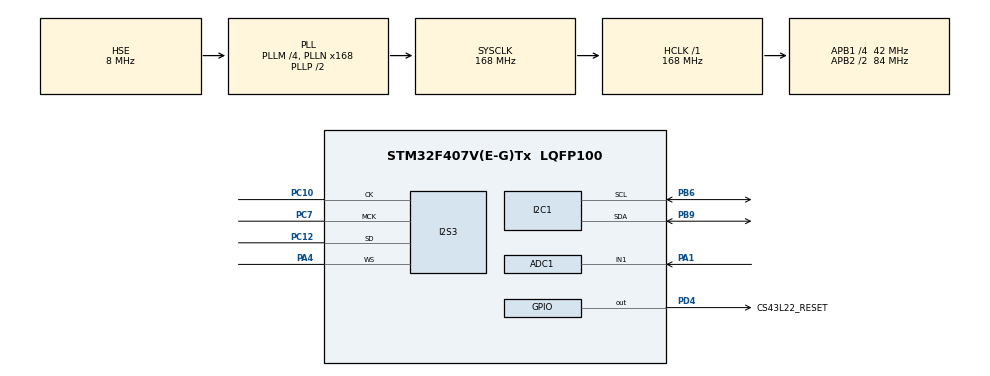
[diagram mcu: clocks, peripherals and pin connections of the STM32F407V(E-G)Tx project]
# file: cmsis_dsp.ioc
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ADC1.Channel-0\#ChannelRegularConversion=ADC_CHANNEL_1
ADC1.DMAContinuousRequests=ENABLE
ADC1.ExternalTrigConv=ADC_EXTERNALTRIGCONV_T2_TRGO
ADC1.NbrOfConversionFlag=1
ADC1.Rank-0\#ChannelRegularConversion=1
ADC1.SamplingTime-0\#ChannelRegularConversion=ADC_SAMPLETIME_3CYCLES
ADC1.master=1
Dma.ADC1.0.Direction=DMA_PERIPH_TO_MEMORY
Dma.ADC1.0.FIFOMode=DMA_FIFOMODE_ENABLE
Dma.ADC1.0.FIFOThreshold=DMA_FIFO_THRESHOLD_FULL
Dma.ADC1.0.Instance=DMA2_Stream0
Dma.ADC1.0.MemBurst=DMA_MBURST_SINGLE
Dma.ADC1.0.MemDataAlignment=DMA_MDATAALIGN_WORD
Dma.ADC1.0.MemInc=DMA_MINC_ENABLE
Dma.ADC1.0.Mode=DMA_CIRCULAR
Dma.ADC1.0.PeriphBurst=DMA_PBURST_SINGLE
Dma.ADC1.0.PeriphDataAlignment=DMA_PDATAALIGN_WORD
Dma.ADC1.0.PeriphInc=DMA_PINC_DISABLE
Dma.ADC1.0.Priority=DMA_PRIORITY_HIGH
Dma.Request0=ADC1
Dma.Request1=SPI3_TX
Dma.SPI3_TX.1.Direction=DMA_MEMORY_TO_PERIPH
Dma.SPI3_TX.1.FIFOMode=DMA_FIFOMODE_ENABLE
Dma.SPI3_TX.1.FIFOThreshold=DMA_FIFO_THRESHOLD_FULL
Dma.SPI3_TX.1.Instance=DMA1_Stream5
Dma.SPI3_TX.1.MemBurst=DMA_MBURST_SINGLE
Dma.SPI3_TX.1.MemDataAlignment=DMA_MDATAALIGN_HALFWORD
Dma.SPI3_TX.1.MemInc=DMA_MINC_ENABLE
Dma.SPI3_TX.1.Mode=DMA_CIRCULAR
Dma.SPI3_TX.1.PeriphBurst=DMA_PBURST_SINGLE
Dma.SPI3_TX.1.PeriphDataAlignment=DMA_PDATAALIGN_HALFWORD
Dma.SPI3_TX.1.PeriphInc=DMA_PINC_DISABLE
Dma.SPI3_TX.1.Priority=DMA_PRIORITY_LOW
I2S3.AudioFreq=I2S_AUDIOFREQ_48K
I2S3.DataFormat=I2S_DATAFORMAT_16B
I2S3.ErrorAudioFreq=1.72 %
I2S3.FullDuplexMode=I2S_FULLDUPLEXMODE_DISABLE
I2S3.Instance=SPI$Index
I2S3.RealAudioFreq=48.828 KHz
I2S3.VirtualMode=I2S_MODE_MASTER
Mcu.Family=STM32F4
Mcu.Name=STM32F407V(E-G)Tx
Mcu.Package=LQFP100
NVIC.DMA1_Stream5_IRQn=true\:0\:0\:false\:false\:true\:false\:true\:true
NVIC.DMA2_Stream0_IRQn=true\:0\:0\:false\:false\:true\:false\:true\:true
NVIC.PriorityGroup=NVIC_PRIORITYGROUP_0
PA1.Signal=ADCx_IN1
PA4.Mode=Half_Duplex_Master
PA4.Signal=I2S3_WS
PB6.Mode=I2C
PB6.Signal=I2C1_SCL
PB9.Mode=I2C
PB9.Signal=I2C1_SDA
PC10.Mode=Half_Duplex_Master
PC10.Signal=I2S3_CK
PC12.Mode=Half_Duplex_Master
PC12.Signal=I2S3_SD
PC7.Mode=Master_Clock_Activated
PC7.Signal=I2S3_MCK
PD4.GPIO_Label=CS43L22_RESET
PD4.Signal=GPIO_Output
PH0-OSC_IN.Mode=HSE-External-Oscillator
PH0-OSC_IN.Signal=RCC_OSC_IN
PH1-OSC_OUT.Mode=HSE-External-Oscillator
PH1-OSC_OUT.Signal=RCC_OSC_OUT
ProjectManager.HeapSize=0x200
ProjectManager.StackSize=0x400
ProjectManager.TargetToolchain=STM32CubeIDE
RCC.48MHZClocksFreq_Value=48000000
RCC.AHBFreq_Value=168000000
RCC.APB1CLKDivider=RCC_HCLK_DIV4
RCC.APB1Freq_Value=42000000
RCC.APB1TimFreq_Value=84000000
RCC.APB2CLKDivider=RCC_HCLK_DIV2
RCC.APB2Freq_Value=84000000
RCC.APB2TimFreq_Value=168000000
RCC.CortexFreq_Value=168000000
RCC.HCLKFreq_Value=168000000
RCC.HSE_VALUE=8000000
RCC.HSI_VALUE=16000000
RCC.LSE_VALUE=32768
RCC.PLLI2SN=50
RCC.PLLM=4
RCC.PLLN=168
RCC.PLLQ=7
RCC.PLLSourceVirtual=RCC_PLLSOURCE_HSE
RCC.SYSCLKFreq_VALUE=168000000
RCC.SYSCLKSource=RCC_SYSCLKSOURCE_PLLCLK
RCC.VCOOutputFreq_Value=336000000
SH.ADCx_IN1.0=ADC1_IN1,IN1
TIM2.Period=343
TIM2.Prescaler=4
TIM2.TIM_MasterOutputTrigger=TIM_TRGO_UPDATE
VP_TIM2_VS_ClockSourceINT.Mode=Internal
board=STM32F407G-DISC1

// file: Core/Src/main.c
/* USER CODE BEGIN Header */
/**
  ******************************************************************************
  * @file           : main.c
  * @brief          : Main program body
  ******************************************************************************
  * @attention
  *
  * Copyright (c) 2024 STMicroelectronics.
  * All rights reserved.
  *
  * This software is licensed under terms that can be found in the LICENSE file
  * in the root directory of this software component.
  * If no LICENSE file comes with this software, it is provided AS-IS.
  *
  ******************************************************************************
  */
/* USER CODE END Header */
#include "main.h"
#include "adc.h"
#include "dma.h"
#include "i2c.h"
#include "i2s.h"
#include "tim.h"
#include "gpio.h"

/* USER CODE BEGIN Includes */
#include "CS43L22.h"
#include <math.h>
#include "arm_math.h"
#include <stdio.h>
#include <stdlib.h>
/* USER CODE END Includes */

/* USER CODE BEGIN PD */
#define N	1024
#define FILTER_NUM_COEFFS 61
#define TALK_THROUGH 1
#define FIR_FILTER 0
#define CALC_FFT 0
/* USER CODE END PD */

/* USER CODE BEGIN PV */
uint32_t adc_val[2*N];
uint16_t count;

float32_t input_buffer[2*N];	// CMSIS DSP library requires float values
float32_t output_buffer[2*N];
float32_t *input_buffer_ptr;
float32_t *output_buffer_ptr;

uint16_t audio_buffer_out[4*N];

arm_fir_instance_f32 lpfilter;
float32_t state[FILTER_NUM_COEFFS + N -1];

uint8_t adc_callback_state = 0;
uint8_t i2s_callback_state = 0;

// 61 filter coefficients Matlab b=fir1(60,0.125);
// cutoff frequency approximately 2.9 kHz for 48 kHz sampling

const float32_t filter_coeffs[FILTER_NUM_COEFFS] = {
		-0.000602, -0.000839, -0.001026, -0.001119, -0.001039,
		-0.000692, 0.000000, 0.001052, 0.002381, 0.003785,
		0.004946, 0.005475, 0.004987, 0.003192, -0.000000,
		-0.004396, -0.009477, -0.014414, -0.018138, -0.019485,
		-0.017373, -0.010995, 0.000000, 0.015383, 0.034300,
		0.055324, 0.076597, 0.096050, 0.111676, 0.121797,
		0.125301, 0.121797, 0.111676, 0.096050, 0.076597,
		0.055324, 0.034300, 0.015383, 0.000000, -0.010995,
		-0.017373, -0.019485, -0.018138, -0.014414, -0.009477,
		-0.004396, -0.000000, 0.003192, 0.004987, 0.005475,
		0.004946, 0.003785, 0.002381, 0.001052, 0.000000,
		-0.000692, -0.001039, -0.001119, -0.001026, -0.000839,
		-0.000602
};

arm_rfft_fast_instance_f32 fft;
float32_t mag[N];
float32_t fft_out[2*N];
/* USER CODE END PV */

void SystemClock_Config(void);
/* USER CODE BEGIN PFP */
int __io_putchar(int ch);
/* USER CODE END PFP */

/* USER CODE BEGIN 0 */
void process_DSP(){
	#if TALK_THROUGH
		for(int i = 0; i < N; i++){
			*(output_buffer_ptr + i)= *(input_buffer_ptr + i);
		}

	#elif FIR_FILTER
		arm_fir_f32(&lpfilter, input_buffer_ptr, output_buffer_ptr, N);

	#elif CALC_FFT
		for(int i = 0; i < N; i++){
			*(output_buffer_ptr + i)= *(input_buffer_ptr + i);
		}
		arm_rfft_fast_f32(&fft, input_buffer_ptr, fft_out, 0);
		// https://arm-software.github.io/CMSIS-DSP/main/group__RealFFT.html
		// first two elements of fft_out are X[0] and X[N/2], both purely real
		mag[0] = fft_out[0];
		mag[N/2] = fft_out[1];
		// the remainder of fft_out are pairs of real and imaginary
		for(int i=1; i < N/2; i++){
			mag[i] = sqrt(pow(fft_out[2*i],2) + pow(fft_out[2*i+1],2));
		}

	#endif
}

void HAL_ADC_ConvHalfCpltCallback(ADC_HandleTypeDef *hadc)
{
//	// first half of buffer is full
	adc_callback_state = 1;

}

void HAL_ADC_ConvCpltCallback(ADC_HandleTypeDef *hadc)
{
	// second half of buffer is full
	adc_callback_state = 2;

}

void HAL_I2S_TxHalfCpltCallback(I2S_HandleTypeDef *hi2s)
{
	i2s_callback_state = 1;

}

void HAL_I2S_TxCpltCallback(I2S_HandleTypeDef *hi2s)
{
	i2s_callback_state = 2;

}
/* USER CODE END 0 */

int main(void)
{

  /* MCU Configuration--------------------------------------------------------*/

  /* Reset of all peripherals, Initializes the Flash interface and the Systick. */
  HAL_Init();

  /* Configure the system clock */
  SystemClock_Config();

  /* Initialize all configured peripherals */
  MX_GPIO_Init();
  MX_DMA_Init();
  MX_TIM2_Init();
  MX_ADC1_Init();
  MX_I2C1_Init();
  MX_I2S3_Init();
  /* USER CODE BEGIN 2 */
  CS43_Init(hi2c1, MODE_I2S);
  CS43_SetVolume(40); // 0 - 40
  CS43_Enable_RightLeft(CS43_RIGHT_LEFT);
  CS43_Start();

  arm_fir_init_f32(&lpfilter, FILTER_NUM_COEFFS, &filter_coeffs[0], &state[0], N);
  arm_rfft_fast_init_f32(&fft, N);

  HAL_TIM_Base_Start(&htim2);
  HAL_ADC_Start_DMA(&hadc1, (uint32_t *)adc_val, 2*N);
  HAL_I2S_Transmit_DMA(&hi2s3, (uint16_t *) audio_buffer_out, 4*N);

  /* USER CODE END 2 */

  /* Infinite loop */
  /* USER CODE BEGIN WHILE */
  while (1)
  {
	  if(adc_callback_state != 0){
		  if (adc_callback_state == 1) { //buffer half full
			  for(int i = 0; i < N; i++){
	  			  input_buffer[i] = (float32_t) adc_val[i];
			  }

			  input_buffer_ptr = &input_buffer[0];
			  output_buffer_ptr = &output_buffer[0];

		  }
		  else if (adc_callback_state == 2) { //buffer full
			  for(int i = N; i < 2*N; i++){
				  input_buffer[i]= (float32_t) adc_val[i];
			  }

			  input_buffer_ptr = &input_buffer[N];
	  		  output_buffer_ptr = &output_buffer[N];

		  }
		  process_DSP();
	  	  adc_callback_state = 0;

	  }

  	  if(i2s_callback_state != 0){
  		  if(i2s_callback_state == 1){

  	  		  for(int i = 0; i < N; i++){
  	  		  		audio_buffer_out[2*i] = (uint16_t) output_buffer[i];
  	  		  		audio_buffer_out[2*i+1] = (uint16_t) output_buffer[i];
  	  		  }
  		  }
  		  else if(i2s_callback_state == 2) {

  	  		  for(int i = N; i < 2*N; i++){
  	  		  		audio_buffer_out[2*i] = (uint16_t) output_buffer[i];
  	  		  		audio_buffer_out[2*i+1] = (uint16_t) output_buffer[i];
  	  		  	}
  		  }
  		  i2s_callback_state = 0;

  	  }

    /* USER CODE END WHILE */

  }
}

void SystemClock_Config(void)
{
  RCC_OscInitTypeDef RCC_OscInitStruct = {0};
  RCC_ClkInitTypeDef RCC_ClkInitStruct = {0};

  /** Configure the main internal regulator output voltage
  */
  __HAL_RCC_PWR_CLK_ENABLE();
  __HAL_PWR_VOLTAGESCALING_CONFIG(PWR_REGULATOR_VOLTAGE_SCALE1);

  /** Initializes the RCC Oscillators according to the specified parameters
  * in the RCC_OscInitTypeDef structure.
  */
  RCC_OscInitStruct.OscillatorType = RCC_OSCILLATORTYPE_HSE;
  RCC_OscInitStruct.HSEState = RCC_HSE_ON;
  RCC_OscInitStruct.PLL.PLLState = RCC_PLL_ON;
  RCC_OscInitStruct.PLL.PLLSource = RCC_PLLSOURCE_HSE;
  RCC_OscInitStruct.PLL.PLLM = 4;
  RCC_OscInitStruct.PLL.PLLN = 168;
  RCC_OscInitStruct.PLL.PLLP = RCC_PLLP_DIV2;
  RCC_OscInitStruct.PLL.PLLQ = 7;
  if (HAL_RCC_OscConfig(&RCC_OscInitStruct) != HAL_OK)
  {
    Error_Handler();
  }

  /** Initializes the CPU, AHB and APB buses clocks
  */
  RCC_ClkInitStruct.ClockType = RCC_CLOCKTYPE_HCLK|RCC_CLOCKTYPE_SYSCLK
                              |RCC_CLOCKTYPE_PCLK1|RCC_CLOCKTYPE_PCLK2;
  RCC_ClkInitStruct.SYSCLKSource = RCC_SYSCLKSOURCE_PLLCLK;
  RCC_ClkInitStruct.AHBCLKDivider = RCC_SYSCLK_DIV1;
  RCC_ClkInitStruct.APB1CLKDivider = RCC_HCLK_DIV4;
  RCC_ClkInitStruct.APB2CLKDivider = RCC_HCLK_DIV2;

  if (HAL_RCC_ClockConfig(&RCC_ClkInitStruct, FLASH_LATENCY_5) != HAL_OK)
  {
    Error_Handler();
  }
}

/* USER CODE BEGIN 4 */
int __io_putchar(int ch){
	ITM_SendChar(ch);
	return 0;
}
/* USER CODE END 4 */

void Error_Handler(void)
{
  __disable_irq();
  while (1)
  {
  }
}
